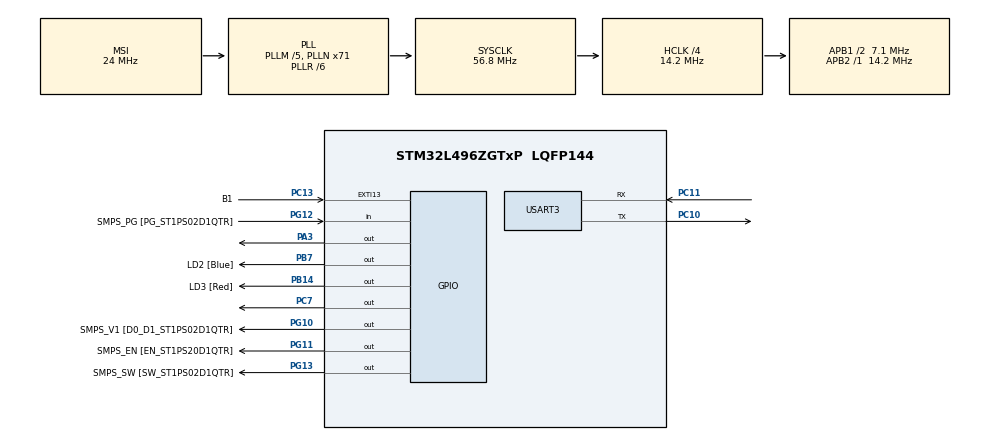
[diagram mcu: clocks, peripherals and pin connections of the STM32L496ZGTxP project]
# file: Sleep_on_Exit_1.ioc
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Mcu.Family=STM32L4
Mcu.Name=STM32L496ZGTxP
Mcu.Package=LQFP144
NVIC.EXTI15_10_IRQn=true\:0\:0\:false\:false\:true\:true\:true\:true
NVIC.PriorityGroup=NVIC_PRIORITYGROUP_4
NVIC.TIM6_DAC_IRQn=true\:0\:0\:false\:false\:true\:true\:true\:true
PA10.GPIO_Label=USB_ID
PA10.Signal=USB_OTG_FS_ID
PA11.GPIO_Label=USB_DM
PA11.Signal=USB_OTG_FS_DM
PA12.GPIO_Label=USB_DP
PA12.Signal=USB_OTG_FS_DP
PA13\ (JTMS/SWDIO).GPIO_Label=TMS
PA13\ (JTMS/SWDIO).Mode=Trace_Asynchronous_SW
PA13\ (JTMS/SWDIO).Signal=SYS_JTMS-SWDIO
PA14\ (JTCK/SWCLK).GPIO_Label=TCK
PA14\ (JTCK/SWCLK).Mode=Trace_Asynchronous_SW
PA14\ (JTCK/SWCLK).Signal=SYS_JTCK-SWCLK
PA3.Signal=GPIO_Output
PA8.GPIO_Label=USB_SOF [TP1]
PA8.Signal=USB_OTG_FS_SOF
PA9.GPIO_Label=USB_VBUS
PA9.Signal=USB_OTG_FS_VBUS
PB14.GPIO_Label=LD3 [Red]
PB14.Signal=GPIO_Output
PB3\ (JTDO/TRACESWO).GPIO_Label=SWO
PB3\ (JTDO/TRACESWO).Mode=Trace_Asynchronous_SW
PB3\ (JTDO/TRACESWO).Signal=SYS_JTDO-SWO
PB7.GPIO_Label=LD2 [Blue]
PB7.Signal=GPIO_Output
PC10.Mode=Asynchronous
PC10.Signal=USART3_TX
PC11.Mode=Asynchronous
PC11.Signal=USART3_RX
PC13.GPIO_Label=B1
PC13.Signal=GPXTI13
PC14-OSC32_IN\ (PC14).Mode=LSE-External-Oscillator
PC14-OSC32_IN\ (PC14).Signal=RCC_OSC32_IN
PC15-OSC32_OUT\ (PC15).Mode=LSE-External-Oscillator
PC15-OSC32_OUT\ (PC15).Signal=RCC_OSC32_OUT
PC7.Signal=GPIO_Output
PG10.GPIO_Label=SMPS_V1 [D0_D1_ST1PS02D1QTR]
PG10.Signal=GPIO_Output
PG11.GPIO_Label=SMPS_EN [EN_ST1PS20D1QTR]
PG11.Signal=GPIO_Output
PG12.GPIO_Label=SMPS_PG [PG_ST1PS02D1QTR]
PG12.Signal=GPIO_Input
PG13.GPIO_Label=SMPS_SW [SW_ST1PS02D1QTR]
PG13.Signal=GPIO_Output
PH0-OSC_IN\ (PH0).GPIO_Label=MCO
PH0-OSC_IN\ (PH0).Signal=RCC_OSC_IN
PH1-OSC_OUT\ (PH1).Signal=RCC_OSC_OUT
ProjectManager.HeapSize=0x200
ProjectManager.StackSize=0x400
ProjectManager.TargetToolchain=STM32CubeIDE
RCC.48MHZClocksFreq_Value=24000000
RCC.ADCFreq_Value=48000000
RCC.AHBCLKDivider=RCC_SYSCLK_DIV4
RCC.AHBFreq_Value=14200000
RCC.APB1CLKDivider=RCC_HCLK_DIV2
RCC.APB1Freq_Value=7100000
RCC.APB1TimFreq_Value=14200000
RCC.APB2Freq_Value=14200000
RCC.APB2TimFreq_Value=14200000
RCC.CortexFreq_Value=14200000
RCC.HCLKFreq_Value=14200000
RCC.HSE_VALUE=8000000
RCC.HSI48_VALUE=48000000
RCC.HSI_VALUE=16000000
RCC.MSIClockRange=RCC_MSIRANGE_9
RCC.MSI_VALUE=24000000
RCC.PLLM=5
RCC.PLLMUL=RCC_PLL_MUL9
RCC.PLLN=71
RCC.PLLR=RCC_PLLR_DIV6
RCC.PLLSAI1N=20
RCC.PRESCALERUSB=RCC_USBCLKSOURCE_PLL_DIV1_5
RCC.SYSCLKFreq_VALUE=56800000
RCC.SYSCLKSource=RCC_SYSCLKSOURCE_PLLCLK
RCC.SYSCLKSourceVirtual=RCC_SYSCLKSOURCE_PLLCLK
RCC.USBFreq_Value=48000000
RCC.VCOOutputFreq_Value=340800000
TIM6.Period=10000
TIM6.Prescaler=14200
USART3.VirtualMode-Asynchronous=VM_ASYNC
VP_TIM6_VS_ClockSourceINT.Mode=Enable_Timer
board=NUCLEO-L496ZG-P

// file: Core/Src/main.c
/* USER CODE BEGIN Header */
/**
  ******************************************************************************
  * @file           : main.c
  * @brief          : Main program body
  ******************************************************************************
  * @attention
  *
  * Copyright (c) 2023 STMicroelectronics.
  * All rights reserved.
  *
  * This software is licensed under terms that can be found in the LICENSE file
  * in the root directory of this software component.
  * If no LICENSE file comes with this software, it is provided AS-IS.
  *
  ******************************************************************************
  */
/* USER CODE END Header */
#include "main.h"

/* USER CODE BEGIN Includes */
#include<stdio.h>
#include<string.h>
/* USER CODE END Includes */

TIM_HandleTypeDef htim6;

UART_HandleTypeDef huart3;

/* USER CODE BEGIN PV */
char msg[50];
/* USER CODE END PV */

void SystemClock_Config(void);
static void MX_GPIO_Init(void);
static void MX_TIM6_Init(void);
static void MX_USART3_UART_Init(void);
/* USER CODE BEGIN PFP */
void GPIO_AnalogConfig(void);
/* USER CODE END PFP */

int main(void)
{

  /* MCU Configuration--------------------------------------------------------*/

  /* Reset of all peripherals, Initializes the Flash interface and the Systick. */
  HAL_Init();

  /* Configure the system clock */
  SystemClock_Config();

  /* Initialize all configured peripherals */
  MX_GPIO_Init();
  MX_TIM6_Init();
  MX_USART3_UART_Init();

  /* USER CODE BEGIN 2 */
  GPIO_AnalogConfig();
  strcpy(msg,"Application is Running\r\n");
  HAL_UART_Transmit(&huart3, (uint8_t*)msg, strlen(msg)	, HAL_MAX_DELAY);

  //__WFI();
 // HAL_PWR_EnableSleepOnExit();
  TIM6->SR = 0;

  HAL_TIM_Base_Start_IT(&htim6);

  /* USER CODE END 2 */

  /* Infinite loop */
  while (1)
  {

  }
}

void SystemClock_Config(void)
{
  RCC_OscInitTypeDef RCC_OscInitStruct = {0};
  RCC_ClkInitTypeDef RCC_ClkInitStruct = {0};

  /** Configure the main internal regulator output voltage
  */
  if (HAL_PWREx_ControlVoltageScaling(PWR_REGULATOR_VOLTAGE_SCALE1) != HAL_OK)
  {
    Error_Handler();
  }

  /** Initializes the RCC Oscillators according to the specified parameters
  * in the RCC_OscInitTypeDef structure.
  */
  RCC_OscInitStruct.OscillatorType = RCC_OSCILLATORTYPE_MSI;
  RCC_OscInitStruct.MSIState = RCC_MSI_ON;
  RCC_OscInitStruct.MSICalibrationValue = 0;
  RCC_OscInitStruct.MSIClockRange = RCC_MSIRANGE_9;
  RCC_OscInitStruct.PLL.PLLState = RCC_PLL_ON;
  RCC_OscInitStruct.PLL.PLLSource = RCC_PLLSOURCE_MSI;
  RCC_OscInitStruct.PLL.PLLM = 5;
  RCC_OscInitStruct.PLL.PLLN = 71;
  RCC_OscInitStruct.PLL.PLLP = RCC_PLLP_DIV2;
  RCC_OscInitStruct.PLL.PLLQ = RCC_PLLQ_DIV2;
  RCC_OscInitStruct.PLL.PLLR = RCC_PLLR_DIV6;
  if (HAL_RCC_OscConfig(&RCC_OscInitStruct) != HAL_OK)
  {
    Error_Handler();
  }

  /** Initializes the CPU, AHB and APB buses clocks
  */
  RCC_ClkInitStruct.ClockType = RCC_CLOCKTYPE_HCLK|RCC_CLOCKTYPE_SYSCLK
                              |RCC_CLOCKTYPE_PCLK1|RCC_CLOCKTYPE_PCLK2;
  RCC_ClkInitStruct.SYSCLKSource = RCC_SYSCLKSOURCE_PLLCLK;
  RCC_ClkInitStruct.AHBCLKDivider = RCC_SYSCLK_DIV4;
  RCC_ClkInitStruct.APB1CLKDivider = RCC_HCLK_DIV2;
  RCC_ClkInitStruct.APB2CLKDivider = RCC_HCLK_DIV1;

  if (HAL_RCC_ClockConfig(&RCC_ClkInitStruct, FLASH_LATENCY_0) != HAL_OK)
  {
    Error_Handler();
  }
}

static void MX_TIM6_Init(void)
{

  TIM_MasterConfigTypeDef sMasterConfig = {0};

  htim6.Instance = TIM6;
  htim6.Init.Prescaler = 1420;
  htim6.Init.CounterMode = TIM_COUNTERMODE_UP;
  htim6.Init.Period = 1000;
  htim6.Init.AutoReloadPreload = TIM_AUTORELOAD_PRELOAD_DISABLE;
  if (HAL_TIM_Base_Init(&htim6) != HAL_OK)
  {
    Error_Handler();
  }
  sMasterConfig.MasterOutputTrigger = TIM_TRGO_RESET;
  sMasterConfig.MasterSlaveMode = TIM_MASTERSLAVEMODE_DISABLE;
  if (HAL_TIMEx_MasterConfigSynchronization(&htim6, &sMasterConfig) != HAL_OK)
  {
    Error_Handler();
  }

}

static void MX_USART3_UART_Init(void)
{

  huart3.Instance = USART3;
  huart3.Init.BaudRate = 230400; // By increasing Baud rate the current consumption is reduced
  huart3.Init.WordLength = UART_WORDLENGTH_8B;
  huart3.Init.StopBits = UART_STOPBITS_1;
  huart3.Init.Parity = UART_PARITY_NONE;
  huart3.Init.Mode = UART_MODE_TX_RX;
  huart3.Init.HwFlowCtl = UART_HWCONTROL_NONE;
  huart3.Init.OverSampling = UART_OVERSAMPLING_16;
  huart3.Init.OneBitSampling = UART_ONE_BIT_SAMPLE_DISABLE;
  huart3.AdvancedInit.AdvFeatureInit = UART_ADVFEATURE_NO_INIT;
  if (HAL_UART_Init(&huart3) != HAL_OK)
  {
    Error_Handler();
  }

}

static void MX_GPIO_Init(void)
{
  GPIO_InitTypeDef GPIO_InitStruct = {0};

  /* GPIO Ports Clock Enable */
  __HAL_RCC_GPIOC_CLK_ENABLE();
  __HAL_RCC_GPIOH_CLK_ENABLE();
  __HAL_RCC_GPIOA_CLK_ENABLE();
  __HAL_RCC_GPIOB_CLK_ENABLE();
 __HAL_RCC_GPIOG_CLK_ENABLE();
  HAL_PWREx_EnableVddIO2();

  /*Configure GPIO pin Output Level */
  HAL_GPIO_WritePin(GPIOA, GPIO_PIN_3, GPIO_PIN_RESET);

  /*Configure GPIO pin Output Level */
  HAL_GPIO_WritePin(GPIOB, LD3_Pin|LD2_Pin, GPIO_PIN_RESET);

  /*Configure GPIO pin Output Level */
  HAL_GPIO_WritePin(GPIOC, GPIO_PIN_7, GPIO_PIN_RESET);

  /*Configure GPIO pin Output Level */
  HAL_GPIO_WritePin(GPIOG, SMPS_V1_Pin|SMPS_EN_Pin|SMPS_SW_Pin, GPIO_PIN_RESET);

  /*Configure GPIO pin : B1_Pin */
  GPIO_InitStruct.Pin = B1_Pin;
  GPIO_InitStruct.Mode = GPIO_MODE_IT_RISING;
  GPIO_InitStruct.Pull = GPIO_NOPULL;
  HAL_GPIO_Init(B1_GPIO_Port, &GPIO_InitStruct);

  /*Configure GPIO pin : PA3 */
  GPIO_InitStruct.Pin = GPIO_PIN_3;
  GPIO_InitStruct.Mode = GPIO_MODE_OUTPUT_PP;
  GPIO_InitStruct.Pull = GPIO_NOPULL;
  GPIO_InitStruct.Speed = GPIO_SPEED_FREQ_LOW;
  HAL_GPIO_Init(GPIOA, &GPIO_InitStruct);

  /*Configure GPIO pins : LD3_Pin LD2_Pin */
  GPIO_InitStruct.Pin = LD3_Pin|LD2_Pin;
  GPIO_InitStruct.Mode = GPIO_MODE_OUTPUT_PP;
  GPIO_InitStruct.Pull = GPIO_NOPULL;
  GPIO_InitStruct.Speed = GPIO_SPEED_FREQ_LOW;
  HAL_GPIO_Init(GPIOB, &GPIO_InitStruct);

  /*Configure GPIO pin : PC7 */
  GPIO_InitStruct.Pin = GPIO_PIN_7;
  GPIO_InitStruct.Mode = GPIO_MODE_OUTPUT_PP;
  GPIO_InitStruct.Pull = GPIO_NOPULL;
  GPIO_InitStruct.Speed = GPIO_SPEED_FREQ_LOW;
  HAL_GPIO_Init(GPIOC, &GPIO_InitStruct);

  /*Configure GPIO pins : USB_SOF_Pin USB_ID_Pin USB_DM_Pin USB_DP_Pin */
  GPIO_InitStruct.Pin = USB_SOF_Pin|USB_ID_Pin|USB_DM_Pin|USB_DP_Pin;
  GPIO_InitStruct.Mode = GPIO_MODE_AF_PP;
  GPIO_InitStruct.Pull = GPIO_NOPULL;
  GPIO_InitStruct.Speed = GPIO_SPEED_FREQ_VERY_HIGH;
  GPIO_InitStruct.Alternate = GPIO_AF10_OTG_FS;
  HAL_GPIO_Init(GPIOA, &GPIO_InitStruct);

  /*Configure GPIO pins : SMPS_V1_Pin SMPS_EN_Pin SMPS_SW_Pin */
  GPIO_InitStruct.Pin = SMPS_V1_Pin|SMPS_EN_Pin|SMPS_SW_Pin;
  GPIO_InitStruct.Mode = GPIO_MODE_OUTPUT_PP;
  GPIO_InitStruct.Pull = GPIO_NOPULL;
  GPIO_InitStruct.Speed = GPIO_SPEED_FREQ_LOW;
  HAL_GPIO_Init(GPIOG, &GPIO_InitStruct);

  /*Configure GPIO pin : SMPS_PG_Pin */
  GPIO_InitStruct.Pin = SMPS_PG_Pin;
  GPIO_InitStruct.Mode = GPIO_MODE_INPUT;
  GPIO_InitStruct.Pull = GPIO_NOPULL;
  HAL_GPIO_Init(SMPS_PG_GPIO_Port, &GPIO_InitStruct);

  /* EXTI interrupt init*/
  HAL_NVIC_SetPriority(EXTI15_10_IRQn, 0, 0);
  HAL_NVIC_EnableIRQ(EXTI15_10_IRQn);

}

/* USER CODE BEGIN 4 */

void HAL_GPIO_EXTI_Callback(uint16_t GPIO_Pin)
{
  strcpy(msg,"Start Button is Pressed\r\n");
  HAL_UART_Transmit(&huart3, (uint8_t*)msg, strlen(msg)	, HAL_MAX_DELAY);
}

/*
void HAL_TIM_PeriodElapsedHalfCpltCallback(TIM_HandleTypeDef *htim){
	strcpy(msg,"Half Time is elapsed\r\n");
	HAL_UART_Transmit(&huart3, (uint8_t*)msg, strlen(msg)	, HAL_MAX_DELAY);
	HAL_GPIO_TogglePin(GPIOA, GPIO_PIN_3);
}
*/

extern char some_data[];
void HAL_TIM_PeriodElapsedCallback(TIM_HandleTypeDef *htim){
	//strcpy(msg,"Full Time is Elapsed\r\n");
	//HAL_UART_Transmit(&huart3, (uint8_t*)msg, strlen(msg), HAL_MAX_DELAY);
	//HAL_GPIO_TogglePin(GPIOC, GPIO_PIN_7);
	if(HAL_UART_Transmit(&huart3, (uint8_t*)some_data,(uint16_t)strlen((char*)some_data), HAL_MAX_DELAY)){
		Error_Handler();
	}

}

void GPIO_AnalogConfig(void){
	GPIO_InitTypeDef gpioC;
	uint32_t gpio_pins = GPIO_PIN_0 |GPIO_PIN_1|GPIO_PIN_2\
			|GPIO_PIN_4|GPIO_PIN_5|GPIO_PIN_6\
			|GPIO_PIN_7|GPIO_PIN_8|GPIO_PIN_9|GPIO_PIN_12\
			|GPIO_PIN_13|GPIO_PIN_14|GPIO_PIN_15;
	gpioC.Pin=gpio_pins;
	gpioC.Mode=GPIO_MODE_ANALOG;
	HAL_GPIO_Init(GPIOC	, &gpioC);

}

/* USER CODE END 4 */

void Error_Handler(void)
{
  __disable_irq();
  while (1)
  {
  }
}
